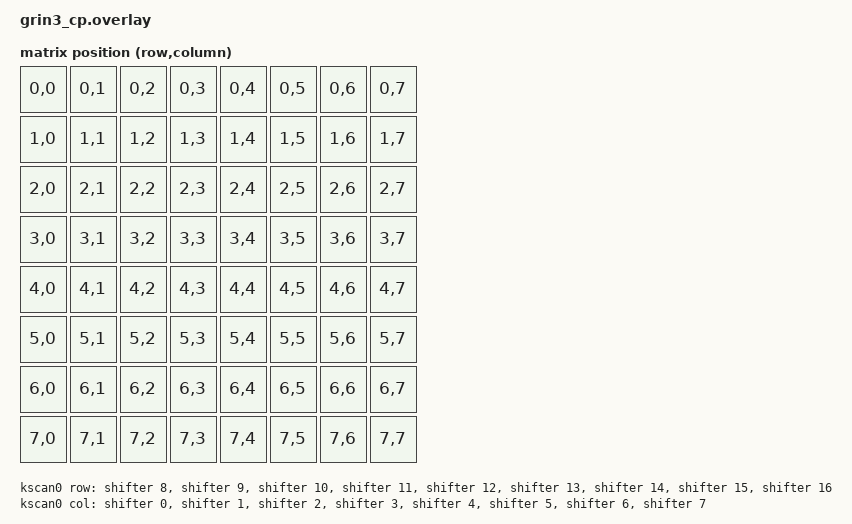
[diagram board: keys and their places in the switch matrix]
#include <dt-bindings/zmk/matrix_transform.h>
#include <physical_layouts.dtsi>
#include <dt-bindings/zmk/bt.h>

#define INPUT_EV_KEY 0x01               /**< Key event */
#define INPUT_EV_REL 0x02               /**< Relative coordinate event */
#define INPUT_EV_ABS 0x03               /**< Absolute coordinate event */
#define INPUT_EV_MSC 0x04               /**< Miscellaneous event */
#define INPUT_EV_VENDOR_START 0xf0      /**< Vendor specific event start */
#define INPUT_EV_VENDOR_STOP 0xff       /**< Vendor specific event stop */
#define INPUT_REL_X 0x00                /**< Relative X coordinate */
#define INPUT_REL_Y 0x01                /**< Relative Y coordinate */
#define INPUT_REL_WHEEL 0x08            /**< Relative wheel coordinate */
#define INPUT_REL_HWHEEL 0x06           /**< Relative horizontal wheel coordinate */
#define INPUT_REL_MISC 0x09             /**< Relative misc coordinate */

&pinctrl {
    spi0_default: spi0_default {
        group1 {
            psels = <NRF_PSEL(SPIM_SCK, 0, 4)>,
                <NRF_PSEL(SPIM_MOSI, 0, 5)>,
                <NRF_PSEL(SPIM_MISO, 1, 11)>;
        };
    };

    spi0_sleep: spi0_sleep {
        group1 {
            psels = <NRF_PSEL(SPIM_SCK, 0, 4)>,
                <NRF_PSEL(SPIM_MOSI, 0, 5)>,
                <NRF_PSEL(SPIM_MISO, 1, 11)>;
            low-power-enable;
        };
    };
};

&uart0 {
	status = "disabled";
};

&spi0 {
    status = "okay";
    cs-gpios =  <&xiao_d 0 GPIO_ACTIVE_LOW>, <&xiao_d 1 GPIO_ACTIVE_LOW>;
    pinctrl-0 = <&spi0_default>;
    pinctrl-1 = <&spi0_sleep>;
    pinctrl-names = "default", "sleep";
    compatible = "nordic,nrf-spim";

    trackball: pd@0 {
        status = "okay";
        compatible = "pixart,pmw3610";
        reg = <0>;
        spi-max-frequency = <2000000>;
        irq-gpios = <&xiao_d 3 (GPIO_ACTIVE_LOW | GPIO_PULL_UP)>;
    };

    shifter: mcp23sxx@1 {
        status = "okay";
        compatible = "microchip,mcp23sxx";
        gpio-controller;
        spi-max-frequency = <2000000>;
        reg = <1>;
        label = "MCP23S17";
        #gpio-cells = <2>;
        ngpios = <16>;
        int-gpios = <&xiao_d 2 GPIO_ACTIVE_LOW>;
    };
};



/ {
  chosen {
    zmk,physical-layout = &grin3_physical_layout;
  };

  grin3_physical_layout: grin3_physical_layout {
      compatible = "zmk,physical-layout";
      display-name = "Default";
      transform = <&default_transform>;
      kscan = <&kscan0>;

      keys  //                     w   h    x    y     rot    rx    ry
          = <&key_physical_attrs 100 100    0    0       0     0     0>
          , <&key_physical_attrs 100 100  100    0       0     0     0>
          , <&key_physical_attrs 100 100  201    2     375   251    52>
          , <&key_physical_attrs 100 100  301   13     875   351    63>
          , <&key_physical_attrs 100 100  400   33    1125   450    83>
          , <&key_physical_attrs 100 100  499   48     625   549    98>
          , <&key_physical_attrs 100 100  600   54     125   650   104>
          , <&key_physical_attrs 100 100  701   52  (-375)   751   102>
          , <&key_physical_attrs 100 100  801   41  (-875)   851    91>
          , <&key_physical_attrs 100 100  900   22 (-1125)   950    72>
          , <&key_physical_attrs 100 100  999    7  (-625)  1049    57>
          , <&key_physical_attrs 100 100 1100    0  (-125)  1150    50>
          , <&key_physical_attrs 100 100 1200    0       0     0     0>
          , <&key_physical_attrs 200 100 1300    0       0     0     0>
          , <&key_physical_attrs 150 100    0  100       0     0     0>
          , <&key_physical_attrs 100 100  150  100     125   200   150>
          , <&key_physical_attrs 100 100  251  107     625   301   157>
          , <&key_physical_attrs 100 100  350  122    1125   400   172>
          , <&key_physical_attrs 100 100  449  141     875   499   191>
          , <&key_physical_attrs 100 100  549  152     375   599   202>
          , <&key_physical_attrs 100 100  650  154  (-125)   700   204>
          , <&key_physical_attrs 100 100  751  148  (-625)   801   198>
          , <&key_physical_attrs 100 100  850  133 (-1125)   900   183>
          , <&key_physical_attrs 100 100  949  113  (-875)   999   163>
          , <&key_physical_attrs 100 100 1049  102  (-375)  1099   152>
          , <&key_physical_attrs 100 100 1150  100       0     0     0>
          , <&key_physical_attrs 100 100 1250  100       0     0     0>
          , <&key_physical_attrs 150 100 1350  100       0     0     0>
          , <&key_physical_attrs 175 100    0  200       0     0     0>
          , <&key_physical_attrs 100 100  175  201     250   225   251>
          , <&key_physical_attrs 100 100  276  210     750   326   260>
          , <&key_physical_attrs 100 100  375  227    1250   425   277>
          , <&key_physical_attrs 100 100  474  245     750   524   295>
          , <&key_physical_attrs 100 100  575  254     250   625   304>
          , <&key_physical_attrs 100 100  675  254  (-250)   725   304>
          , <&key_physical_attrs 100 100  776  245  (-750)   826   295>
          , <&key_physical_attrs 100 100  875  227 (-1250)   925   277>
          , <&key_physical_attrs 100 100  974  210  (-750)  1024   260>
          , <&key_physical_attrs 100 100 1075  201  (-250)  1125   251>
          , <&key_physical_attrs 100 100 1175  200       0     0     0>
          , <&key_physical_attrs 225 100 1275  200       0     0     0>
          , <&key_physical_attrs 225 100    0  300       0     0     0>
          , <&key_physical_attrs 100 100  226  304     500   276   354>
          , <&key_physical_attrs 100 100  326  318    1000   376   368>
          , <&key_physical_attrs 100 100  424  337    1000   474   387>
          , <&key_physical_attrs 100 100  524  350     500   574   400>
          , <&key_physical_attrs 100 100  625  355       0     0     0>
          , <&key_physical_attrs 100 100  726  350  (-500)   776   400>
          , <&key_physical_attrs 100 100  826  337 (-1000)   876   387>
          , <&key_physical_attrs 100 100  924  318 (-1000)   974   368>
          , <&key_physical_attrs 100 100 1024  304  (-500)  1074   354>
          , <&key_physical_attrs 100 100 1125  300       0     0     0>
          , <&key_physical_attrs 100 100 1225  300       0     0     0>
          , <&key_physical_attrs 100 100 1350  325       0     0     0>
          , <&key_physical_attrs 125 100    0  400       0     0     0>
          , <&key_physical_attrs 125 100  125  400       0     0     0>
          , <&key_physical_attrs 125 100  253  409     700   316   459>
          , <&key_physical_attrs 150 100  382  435    1195   457   485>
          , <&key_physical_attrs 275 100  538  454       0     0     0>
          , <&key_physical_attrs 150 100  818  435 (-1195)   893   485>
          , <&key_physical_attrs 125 100  972  409  (-700)  1034   459>
          , <&key_physical_attrs 125 100 1100  400       0     0     0>
          , <&key_physical_attrs 100 100 1250  425       0     0     0>
          , <&key_physical_attrs 100 100 1350  425       0     0     0>
          , <&key_physical_attrs 100 100 1450  425       0     0     0>
          ;
    };
  
    default_transform: keymap_transform_0 {
      compatible = "zmk,matrix-transform";
      columns = <2>;
      rows = <2>;

      map = <
        RC(0,0) RC(0,1) RC(0,2) RC(0,3) RC(0,4) RC(0,5) RC(0,6) RC(0,7)
        RC(1,0) RC(1,1) RC(1,2) RC(1,3) RC(1,4) RC(1,5) RC(1,6) RC(1,7)
        RC(2,0) RC(2,1) RC(2,2) RC(2,3) RC(2,4) RC(2,5) RC(2,6) RC(2,7)
        RC(3,0) RC(3,1) RC(3,2) RC(3,3) RC(3,4) RC(3,5) RC(3,6) RC(3,7)
        RC(4,0) RC(4,1) RC(4,2) RC(4,3) RC(4,4) RC(4,5) RC(4,6) RC(4,7)
        RC(5,0) RC(5,1) RC(5,2) RC(5,3) RC(5,4) RC(5,5) RC(5,6) RC(5,7)
        RC(6,0) RC(6,1) RC(6,2) RC(6,3) RC(6,4) RC(6,5) RC(6,6) RC(6,7)
        RC(7,0) RC(7,1) RC(7,2) RC(7,3) RC(7,4) RC(7,5) RC(7,6) RC(7,7)
        >;
    };
    
    kscan0: kscan_0 {
        compatible = "zmk,kscan-gpio-matrix";
        diode-direction = "row2col";
        col-gpios
            = <&shifter 0 (GPIO_ACTIVE_LOW | GPIO_PULL_UP)>,
              <&shifter 1 (GPIO_ACTIVE_LOW | GPIO_PULL_UP)>,
              <&shifter 2 (GPIO_ACTIVE_LOW | GPIO_PULL_UP)>,
              <&shifter 3 (GPIO_ACTIVE_LOW | GPIO_PULL_UP)>,
              <&shifter 4 (GPIO_ACTIVE_LOW | GPIO_PULL_UP)>,
              <&shifter 5 (GPIO_ACTIVE_LOW | GPIO_PULL_UP)>,
              <&shifter 6 (GPIO_ACTIVE_LOW | GPIO_PULL_UP)>,
              <&shifter 7 (GPIO_ACTIVE_LOW | GPIO_PULL_UP)>
            ;
        row-gpios
            = <&shifter 8 (GPIO_ACTIVE_LOW)>,
              <&shifter 9 (GPIO_ACTIVE_LOW)>,
              <&shifter 10 (GPIO_ACTIVE_LOW)>,
              <&shifter 11 (GPIO_ACTIVE_LOW)>,
              <&shifter 12 (GPIO_ACTIVE_LOW)>,
              <&shifter 13 (GPIO_ACTIVE_LOW)>,
              <&shifter 14 (GPIO_ACTIVE_LOW)>,
              <&shifter 15 (GPIO_ACTIVE_LOW)>,
              <&shifter 16 (GPIO_ACTIVE_LOW)>
            ;
    };
};

&trackball {
    status = "okay";
	cpi = <600>;
	evt-type = <INPUT_EV_REL>;
	x-input-code = <INPUT_REL_X>;
	y-input-code = <INPUT_REL_Y>;
};

/ {
  trackball_listener {
    compatible = "zmk,input-listener";
    device = <&trackball>;
  };
};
